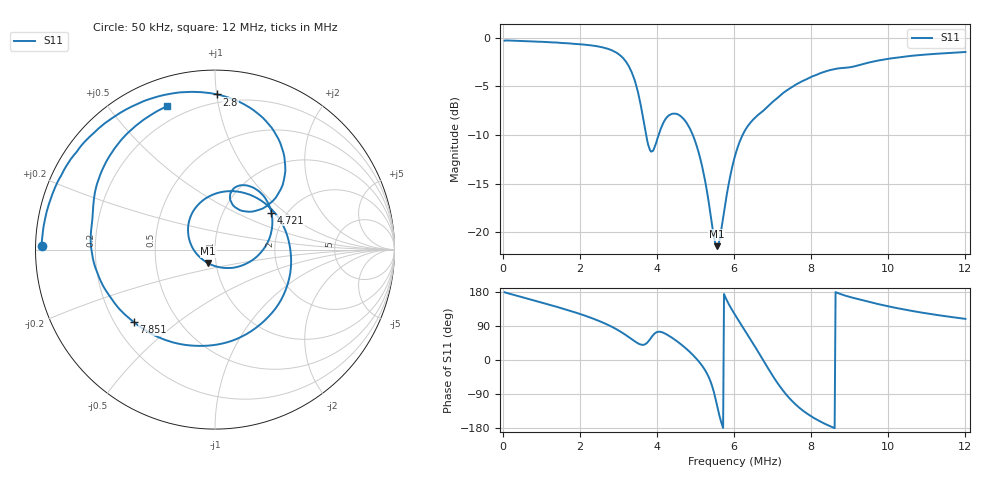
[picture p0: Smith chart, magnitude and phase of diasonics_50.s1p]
# Hz S RI R 50
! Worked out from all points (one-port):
!   505 points, 50 kHz to 12 MHz, reference 50 ohm
!   lowest |S11| = -21.4 dB at 5.551 MHz (marker M1), VSWR 1.19, Z = 45.9 - j7.03 ohm
!   |S11| at or under -10 dB: 3.72 MHz to 4.046 MHz (325.9 kHz wide, 8.39 % of centre); 4.93 MHz to 6.223 MHz (1.294 MHz wide, 23.2 % of centre)
!   S11 on the Smith chart (normalised r, x): 50 kHz: 0.02, +0.01; 2.8 MHz: 0.15, +1.00; 4.721 MHz: 1.67, +0.81; 7.851 MHz: 0.28, -0.35; 12 MHz: 0.13, +0.71
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50000  -0.9635 0.0219
785000  -0.8856 0.3585
1567400  -0.6672 0.6576
2278700  -0.3376 0.8473
2800310  0.0118 0.8646
3061110  0.2153 0.7766
3416810  0.3912 0.4664
3701310  0.2443 0.2215
3867310  0.1242 0.2284
4033210  0.0842 0.2995
4270310  0.1567 0.3589
4554810  0.2751 0.2934
4720810  0.3142 0.2065
5123920  0.2364 -0.036
5550720  -0.0375 -0.076
5811520  -0.1443 0.0593
6024920  -0.1208 0.2151
6404220  0.1903 0.3072
6617620  0.3685 0.1547
6807320  0.4242 -0.0684
6973320  0.3697 -0.2775
7186620  0.1779 -0.4693
7542330  -0.2112 -0.5227
7850530  -0.4537 -0.4028
8395830  -0.662 -0.1129
9036030  -0.6827 0.1773
1.052974e7  -0.5272 0.6051
1.199984e7  -0.268 0.7988
